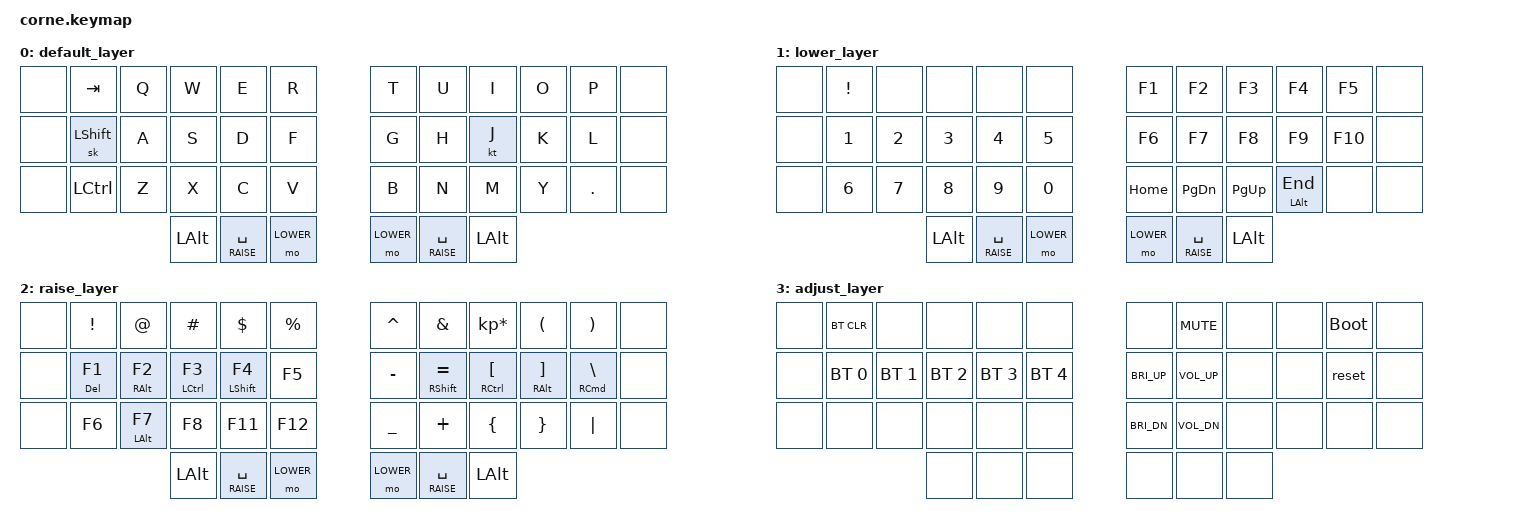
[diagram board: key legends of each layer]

/*
 * Copyright (c) 2020 The ZMK Contributors
 *
 * SPDX-License-Identifier: MIT
 */

#include <behaviors.dtsi>
#include <dt-bindings/zmk/keys.h>
#include <dt-bindings/zmk/bt.h>


#define DEFAULT 0
#define LOWER   1
#define RAISE   2
#define ADJUST  3
#define LWR LOWER
#define RSE RAISE
#define ADJ ADJUST

&mt {
    flavor = "tap-preferred";
    tapping-term-ms = <250>;
    quick_tap_ms = <180>;
};

&lt {
    /* flavor = "balanced"; */
    quick_tap_ms = <200>;
    tapping-term-ms = <180>;
};

/ {
        combos {
           compatible = "zmk,combos";
           combo_lpar {
              timeout-ms = <50>;
              key-positions = <25 26>;
              bindings = <&kp LPAR>;
           };

           combo_rpar {
              timeout-ms = <50>;
              key-positions = <33 34>;
              bindings = <&kp RPAR>;
           };
        };

        conditional_layers {
            compatible = "zmk,conditional-layers";
            tri_layer {
                if-layers = <LOWER RAISE>;
                then-layer = <ADJUST>;
            };
        };

        keymap {
                compatible = "zmk,keymap";

                default_layer {
                        bindings = <
   &none &kp TAB        &kp Q       &kp W       &kp E           &kp R      /*  */     &kp T         &kp U         &kp I        &kp O         &kp P        &none
   &none &sk LSHFT      &kp A       &kp S       &kp D           &kp F      /*  */     &kp G         &kp H         &kt J        &kp K         &kp L        &none
   &none &kp LCTRL      &kp Z       &kp X       &kp C           &kp V      /*  */     &kp B         &kp N         &kp M        &kp Y         &kp DOT      &none
                                    &kp LALT    &lt RSE SPACE   &mo LWR    /*  */     &mo LWR       &lt RSE SPACE &kp LALT
                        >;
                };
                lower_layer {
                        bindings = <
   &none &kp EXCL       &none       &none       &none           &none      /*  */    &kp F1   &kp F2         &kp F3       &kp F4         &kp F5     &none
   &none &kp N1         &kp N2      &kp N3      &kp N4          &kp N5     /*  */    &kp F6   &kp F7         &kp F8       &kp F9         &kp F10    &none
   &none &kp N6         &kp N7      &kp N8      &kp N9          &kp N0     /*  */    &kp HOME &kp PG_DN      &kp PG_UP    &mt LALT END   &none      &none
                                    &kp LALT    &lt RSE SPACE   &mo LWR    /*  */    &mo LWR  &lt RSE SPACE  &kp LALT
                        >;
                };
                raise_layer {
                        bindings = <
   &none &kp EXCL    &kp AT      &kp HASH     &kp DLLR     &kp PRCNT    /*  */          &kp CARET    &kp AMPS        &kp KP_MULTIPLY &kp LPAR      &kp RPAR      &none
   &none &mt DEL F1 &mt RALT F2 &mt LCTRL F3 &mt LSHFT F4 &kp F5        /*  */          &kp MINUS     &mt RSHFT EQUAL &mt RCTRL LBKT  &mt RALT RBKT &mt RCMD BSLH &none
   &none &kp F6      &mt LALT F7 &kp F8       &kp F11       &kp F12     /*  */          &kp UNDER     &kp PLUS        &kp LBRC        &kp RBRC      &kp PIPE      &none
                                 &kp LALT    &lt RSE SPACE      &mo LWR /*  */          &mo LWR  &lt RSE SPACE  &kp LALT
                        >;
                };
                adjust_layer {
                        bindings = <
   &none &bt BT_CLR   &none        &none        &none        &none         /*  */    &none           &kp K_MUTE          &none   &none           &bootloader             &none
   &none &bt BT_SEL 0 &bt BT_SEL 1 &bt BT_SEL 2 &bt BT_SEL 3 &bt BT_SEL 4  /*  */    &kp C_BRI_UP    &kp C_VOL_UP        &none   &none           &reset                  &none
   &none &none        &none        &none        &none        &none         /*  */    &kp C_BRI_DN    &kp C_VOL_DN       &none   &none           &none                   &none
                                   &none        &none        &none         /*  */    &none           &none        &none
                        >;
                };
        };
};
